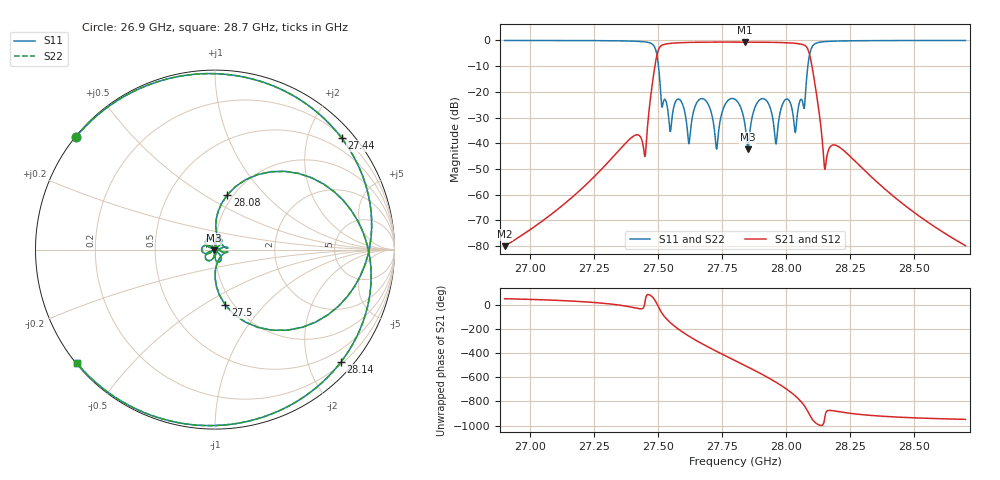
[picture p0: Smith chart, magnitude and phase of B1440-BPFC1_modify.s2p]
! Created with skrf (http://scikit-rf.org).
! Parameters = {f0=27790; bw=500; Q=3500; N=8; m_0_1=1.024807333946228; m_1_1=-0.000847494404297322; m_1_2=0.8469452857971191; m_2_2=-0.0009200117201544344; m_2_3=0.595033586025238; m_3_3=-0.001072873012162745; m_3_4=0.5169047713279724; m_3_5=-0.029739277437329292; m_3_6=-0.18840281665325165; m_4_4=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
# MHz S RI R 50.0
!freq ReS11 ImS11 ReS21 ImS21 ReS12 ImS12 ReS22 ImS22
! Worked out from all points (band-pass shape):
!   1001 points, 26.9 GHz to 28.7 GHz, reference 50 ohm
!   highest |S21| = -0.65 dB at 27.84 GHz (marker M1); lowest = -80.0 dB at 26.9 GHz (marker M2)
!   |S21| within 3 dB of the highest: 27.5 GHz to 28.09 GHz (584.4 MHz wide, 2.1 % of centre)
!   lowest |S11| = -42.3 dB at 27.85 GHz (marker M3), VSWR 1.02, Z = 49.3 - j0.311 ohm
!   |S11| at or under -10 dB: 27.5 GHz to 28.08 GHz (583.4 MHz wide, 2.1 % of centre)
!   |S22| runs from -42.3 to 0.0 dB; largest |S21 - S12| = 0
!   S11 on the Smith chart (normalised r, x): 26.9 GHz: 0.00, +0.35; 27.44 GHz: 0.24, +2.63; 27.5 GHz: 0.92, -0.63; 28.08 GHz: 0.94, +0.64; 28.14 GHz: 0.24, -2.61; 28.7 GHz: 0.00, -0.36
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26900  -0.776 0.6257  6.47e-05 7.6e-05  6.47e-05 7.6e-05  -0.776 0.6257
27200.6  -0.4632 0.8766  0.00117 0.000559  0.00117 0.000559  -0.4632 0.8766
27443.6  0.7051 0.622  0.00703 -0.00267  0.00703 -0.00267  0.7051 0.622
27476  0.8513 -0.0333  0.0523 0.12  0.0523 0.12  0.8513 -0.0333
27501.2  0.0582 -0.3093  0.6201 -0.2294  0.6201 -0.2294  0.0582 -0.3093
27524.6  0.0703 -0.013  -0.1228 -0.8275  -0.1228 -0.8275  0.0703 -0.013
27562.4  0.00533 0.054  -0.8851 -0.0657  -0.8851 -0.0657  0.00533 0.054
27632.6  -0.0285 0.0119  0.1065 0.9101  0.1065 0.9101  -0.0285 0.0119
27710  -0.00303 0.0348  0.9203 -0.1055  0.9203 -0.1055  -0.00303 0.0348
27729.8  -0.00839 0.000605  0.8188 -0.4369  0.8188 -0.4369  -0.00839 0.000605
27800  -0.0703 0.0132  -0.197 -0.9062  -0.197 -0.9062  -0.0703 0.0132
27837.8  -0.0204 0.0144  -0.7328 -0.57  -0.7328 -0.57  -0.0204 0.0144
27850.4  -0.00701 -0.00315  -0.8452 -0.3834  -0.8452 -0.3834  -0.00701 -0.00315
27895.4  -0.0316 -0.0615  -0.8374 0.3874  -0.8374 0.3874  -0.0316 -0.0615
27944  -0.0347 -0.0132  -0.1355 0.9071  -0.1355 0.9071  -0.0347 -0.0132
28012.4  0.0103 -0.0657  0.8902 0.0706  0.8902 0.0706  0.0103 -0.0657
28057.4  0.0707 0.0101  0.1397 -0.834  0.1397 -0.834  0.0707 0.0101
28084.4  0.0686 0.3052  -0.649 -0.191  -0.649 -0.191  0.0686 0.3052
28100.6  0.665 0.3218  -0.227 0.2214  -0.227 0.2214  0.665 0.3218
28143.8  0.7025 -0.6252  0.000218 0.00766  0.000218 0.00766  0.7025 -0.6252
28401.2  -0.4749 -0.8705  -0.000988 0.000489  -0.000988 0.000489  -0.4749 -0.8705
28700  -0.7698 -0.6331  -6.69e-05 7.71e-05  -6.69e-05 7.71e-05  -0.7698 -0.6331
